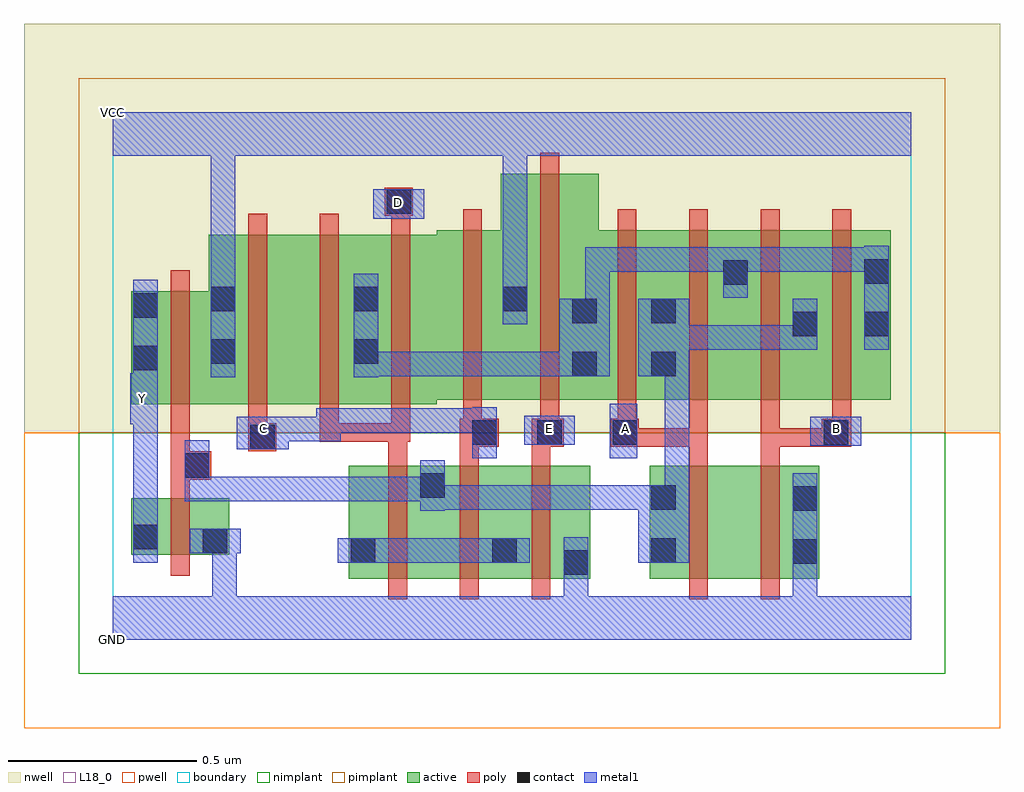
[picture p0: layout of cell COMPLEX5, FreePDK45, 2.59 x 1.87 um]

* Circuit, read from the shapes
.subckt COMPLEX5 A B C D E GND VCC Y
M1 GND n1 Y VSUBS nfet w=0.15u l=0.05u
M2 n1 D n2 VSUBS nfet w=0.3u l=0.05u
M3 n2 C n1 VSUBS nfet w=0.3u l=0.05u
M4 GND E n2 VSUBS nfet w=0.3u l=0.05u
M5 n3 A n1 VSUBS nfet w=0.3u l=0.05u
M6 GND B n3 VSUBS nfet w=0.3u l=0.05u
M7 VCC n1 Y n4 pfet w=0.3u l=0.05u
M8 n5 C VCC n4 pfet w=0.45u l=0.05u
M9 n6 D n5 n4 pfet w=0.45u l=0.05u
M10 n7 D n6 n4 pfet w=0.45u l=0.05u
M11 VCC C n7 n4 pfet w=0.45u l=0.05u
M12 n6 E VCC n4 pfet w=0.6u l=0.05u
M13 n1 A n6 n4 pfet w=0.45u l=0.05u m=2
M14 n1 B n6 n4 pfet w=0.45u l=0.05u m=2
.ends

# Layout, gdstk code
import gdstk
lib = gdstk.Library(unit=1e-6, precision=1e-09)
def R(c, l, rs):  # rectangles x0, y0, x1, y1
    for r in rs: c.add(gdstk.rectangle(r[:2], r[2:], *l))
def A(c, l, x, y, w, h, nx, ny, dx, dy):  # array of equal rectangles
    R(c, l, [(x+i*dx, y+j*dy, x+i*dx+w, y+j*dy+h) for i in range(nx) for j in range(ny)])
active = (1, 0)
pwell = (2, 0)
nwell = (3, 0)
nimplant = (4, 0)
pimplant = (5, 0)
poly = (9, 0)
contact = (10, 0)
metal1 = (11, 0)
L18_0 = (18, 0)
boundary = (235, 0)

complex5 = lib.new_cell('COMPLEX5')
R(complex5, active, [(0.627,0.162,0.887,0.462), (0.812,0.162,1.077,0.462), (1.002,0.162,1.267,0.462), (1.192,0.162,1.267,0.462), (1.425,0.162,1.65,0.462), (1.65,0.162,1.875,0.462), (0.627,0.195,0.702,0.462), (0.812,0.195,0.887,0.447), (1.002,0.195,1.077,0.397), (1.425,0.195,1.53,0.462), (1.8,0.195,1.875,0.462), (0.05,0.225,0.125,0.375), (0.05,0.225,0.31,0.375), (0.235,0.225,0.31,0.375), (0.05,0.625,0.125,0.925), (0.05,0.625,0.33,0.925), (0.255,0.625,0.48,1.075), (0.255,0.625,0.33,1.075), (0.48,0.625,0.71,1.075), (0.635,0.625,0.86,1.075), (0.635,0.625,0.71,1.055), (0.86,0.637,1.105,1.087), (1.03,0.637,1.29,1.237), (1.215,0.637,1.5,1.087), (1.215,0.637,1.29,1.2), (1.425,0.637,1.5,1.055), (1.425,0.637,1.69,1.087), (1.615,0.637,1.875,1.087), (1.8,0.637,1.875,1.055), (1.8,0.637,2.065,1.087), (1.99,0.637,2.065,1.055), (1.03,0.742,1.105,1.055), (1.615,0.857,1.69,1.055)])
R(complex5, pwell, [(-0.235,-0.235,2.355,0.55)])
R(complex5, nwell, [(-0.235,0.55,2.355,1.635)])
R(complex5, nimplant, [(-0.09,-0.09,2.21,0.55)])
R(complex5, pimplant, [(-0.09,0.55,2.21,1.49)])
A(complex5, poly, 0.732, 0.107, 0.05, 0.41, 3, 1, 0.19, 0)
A(complex5, poly, 0.36, 0.525, 0.05, 0.095, 3, 1, 0.19, 0)
A(complex5, poly, 0.93, 0.537, 0.05, 0.095, 3, 1, 0.205, 0)
A(complex5, poly, 0.36, 0.57, 0.05, 0.56, 3, 1, 0.19, 0)
A(complex5, poly, 1.34, 0.582, 0.05, 0.56, 4, 1, 0.19, 0)
R(complex5, poly, [(1.53,0.107,1.58,0.517), (1.72,0.107,1.77,0.517), (0.155,0.17,0.205,0.43), (0.155,0.38,0.205,0.475), (0.155,0.425,0.262,0.5), (0.155,0.45,0.205,0.62), (0.732,0.467,0.782,0.575), (0.922,0.467,0.972,0.562), (1.112,0.467,1.162,0.562), (1.53,0.467,1.58,0.562), (1.72,0.467,1.77,0.562), (0.36,0.5,0.435,0.575), (0.922,0.512,1.025,0.587), (1.112,0.512,1.197,0.587), (1.322,0.512,1.397,0.587), (1.347,0.512,1.58,0.562), (1.53,0.512,1.58,0.562), (1.53,0.512,1.58,0.562), (1.53,0.512,1.58,0.562), (1.53,0.512,1.58,0.632), (1.72,0.512,1.932,0.562), (1.72,0.512,1.77,0.562), (1.72,0.512,1.77,0.562), (1.72,0.512,1.77,0.562), (1.72,0.512,1.77,0.632), (1.882,0.512,1.96,0.587), (0.55,0.525,0.6,0.575), (0.55,0.525,0.6,0.575), (0.55,0.525,0.6,0.575), (0.55,0.525,0.782,0.575), (0.732,0.525,0.79,0.575), (1.91,0.537,1.96,0.632), (0.155,0.57,0.205,0.98), (0.93,0.582,0.98,1.142), (1.135,0.582,1.185,1.292), (0.74,1.08,0.79,1.175), (0.722,1.125,0.797,1.2)])
R(complex5, contact, [(1.197,0.172,1.262,0.237), (1.805,0.202,1.87,0.267), (0.632,0.205,0.697,0.27), (1.007,0.205,1.072,0.27), (1.43,0.205,1.495,0.27), (0.24,0.23,0.305,0.295), (0.055,0.24,0.12,0.305), (1.805,0.342,1.87,0.407), (1.43,0.345,1.495,0.41), (0.817,0.377,0.882,0.442), (0.192,0.43,0.257,0.495), (0.365,0.505,0.43,0.57), (0.955,0.517,1.02,0.582), (1.127,0.517,1.192,0.582), (1.327,0.517,1.392,0.582), (1.887,0.517,1.952,0.582), (1.22,0.7,1.285,0.765), (1.43,0.7,1.495,0.765), (0.055,0.715,0.12,0.78), (0.26,0.732,0.325,0.797), (0.64,0.732,0.705,0.797), (1.805,0.805,1.87,0.87), (1.995,0.805,2.06,0.87), (1.22,0.84,1.285,0.905), (1.43,0.84,1.495,0.905), (0.055,0.855,0.12,0.92), (0.26,0.872,0.325,0.937), (0.64,0.872,0.705,0.937), (1.035,0.872,1.1,0.937), (1.62,0.942,1.685,1.007), (1.995,0.945,2.06,1.01), (0.727,1.13,0.792,1.195)])
R(complex5, metal1, [(0,0,2.12,0.115), (0.265,0.05,0.33,0.295), (1.197,0.05,1.262,0.115), (1.197,0.05,1.262,0.115), (1.197,0.05,1.262,0.202), (1.805,0.05,1.87,0.115), (1.805,0.05,1.87,0.115), (1.805,0.05,1.87,0.232), (1.197,0.137,1.262,0.272), (1.805,0.167,1.87,0.442), (0.055,0.205,0.12,0.34), (0.597,0.205,0.732,0.27), (0.667,0.205,0.742,0.27), (0.677,0.205,0.742,0.27), (0.677,0.205,0.9,0.27), (0.835,0.205,0.9,0.27), (0.835,0.205,0.9,0.27), (0.835,0.205,0.9,0.27), (0.835,0.205,1.037,0.27), (0.972,0.205,1.107,0.27), (1.395,0.205,1.53,0.41), (0.205,0.23,0.34,0.295), (0.265,0.23,0.33,0.295), (0.265,0.23,0.33,0.295), (0.265,0.23,0.33,0.295), (0.265,0.23,0.33,0.295), (0.055,0.275,0.12,0.637), (0.817,0.342,0.882,0.477), (0.817,0.345,0.882,0.41), (0.817,0.345,0.882,0.41), (0.817,0.345,1.045,0.41), (0.98,0.345,1.045,0.41), (0.98,0.345,1.182,0.41), (1.117,0.345,1.182,0.41), (1.117,0.345,1.182,0.41), (1.117,0.345,1.182,0.41), (1.117,0.345,1.392,0.41), (1.327,0.345,1.392,0.41), (1.327,0.345,1.46,0.41), (1.465,0.345,1.53,0.41), (1.465,0.345,1.53,0.41), (1.465,0.345,1.53,0.765), (0.192,0.367,0.257,0.432), (0.192,0.367,0.467,0.432), (0.192,0.367,0.257,0.46), (0.402,0.367,0.605,0.432), (0.402,0.367,0.467,0.432), (0.402,0.367,0.467,0.432), (0.402,0.367,0.467,0.432), (0.54,0.367,0.605,0.432), (0.54,0.367,0.605,0.432), (0.54,0.367,0.605,0.432), (0.54,0.367,0.742,0.432), (0.677,0.367,0.742,0.432), (0.677,0.367,0.882,0.432), (0.192,0.395,0.257,0.46), (0.192,0.395,0.257,0.46), (0.192,0.395,0.257,0.53), (0.955,0.482,1.02,0.617), (1.32,0.482,1.392,0.627), (0.33,0.505,0.467,0.592), (1.852,0.515,1.987,0.592), (1.092,0.517,1.227,0.595), (0.402,0.527,0.605,0.592), (0.402,0.527,0.467,0.592), (0.402,0.527,0.467,0.592), (0.54,0.527,0.605,0.615), (0.54,0.55,0.605,0.615), (0.54,0.55,0.605,0.615), (0.54,0.55,0.742,0.615), (0.677,0.55,0.742,0.615), (0.677,0.55,0.87,0.615), (0.805,0.55,0.87,0.615), (0.805,0.55,1.02,0.615), (0.047,0.572,0.12,0.707), (0.055,0.642,0.12,0.745), (0.055,0.68,0.12,0.955), (0.26,0.697,0.325,0.972), (0.64,0.697,0.705,0.972), (0.64,0.7,0.742,0.765), (0.677,0.7,0.742,0.765), (0.677,0.7,0.9,0.765), (0.835,0.7,0.9,0.765), (0.835,0.7,0.9,0.765), (0.835,0.7,0.9,0.765), (0.835,0.7,1.045,0.765), (0.98,0.7,1.045,0.765), (0.98,0.7,1.045,0.765), (0.98,0.7,1.045,0.765), (0.98,0.7,1.25,0.765), (1.185,0.7,1.32,0.905), (1.395,0.7,1.53,0.905), (1.465,0.77,1.53,0.835), (1.465,0.77,1.53,0.835), (1.465,0.77,1.732,0.835), (1.667,0.77,1.87,0.835), (1.667,0.77,1.732,0.835), (1.667,0.77,1.732,0.835), (1.667,0.77,1.732,0.835), (1.805,0.77,1.87,0.905), (1.995,0.77,2.06,1.045), (1.035,0.837,1.1,0.972), (1.255,0.84,1.32,1.042), (0.26,0.907,0.325,1.35), (1.035,0.907,1.1,0.972), (1.035,0.907,1.1,0.972), (1.035,0.907,1.1,1.35), (1.62,0.907,1.685,1.042), (1.255,0.977,1.32,1.042), (1.255,0.977,1.32,1.042), (1.255,0.977,1.32,1.042), (1.255,0.977,1.53,1.042), (1.465,0.977,1.53,1.042), (1.465,0.977,1.53,1.042), (1.465,0.977,1.53,1.042), (1.465,0.977,1.685,1.042), (1.62,0.977,1.685,1.042), (1.62,0.977,1.685,1.042), (1.62,0.977,1.922,1.042), (1.857,0.977,2.06,1.042), (1.857,0.977,1.922,1.042), (1.857,0.977,1.922,1.042), (1.857,0.977,1.922,1.042), (0.692,1.117,0.827,1.195), (0,1.285,2.12,1.4), (0.26,1.285,0.325,1.35), (0.26,1.285,0.325,1.35), (0.26,1.285,0.325,1.35), (0.26,1.285,0.325,1.35)])
R(complex5, L18_0, [(0,0,2.12,0.115), (0.265,0.05,0.33,0.295), (1.197,0.05,1.262,0.115), (1.197,0.05,1.262,0.115), (1.197,0.05,1.262,0.202), (1.805,0.05,1.87,0.115), (1.805,0.05,1.87,0.115), (1.805,0.05,1.87,0.232), (1.197,0.137,1.262,0.272), (1.805,0.167,1.87,0.442), (0.055,0.205,0.12,0.34), (0.205,0.23,0.34,0.295), (0.265,0.23,0.33,0.295), (0.265,0.23,0.33,0.295), (0.265,0.23,0.33,0.295), (0.265,0.23,0.33,0.295), (0.055,0.275,0.12,0.637), (0.955,0.482,1.02,0.617), (1.32,0.482,1.392,0.627), (0.33,0.505,0.467,0.592), (1.852,0.515,1.987,0.592), (1.092,0.517,1.227,0.595), (0.367,0.527,0.432,0.592), (0.402,0.527,0.467,0.592), (0.402,0.527,0.467,0.592), (0.402,0.527,0.605,0.592), (0.54,0.527,0.605,0.615), (1.127,0.527,1.192,0.592), (1.327,0.527,1.392,0.592), (1.887,0.527,1.952,0.592), (0.54,0.55,0.605,0.615), (0.54,0.55,0.605,0.615), (0.54,0.55,0.742,0.615), (0.677,0.55,0.742,0.615), (0.677,0.55,0.87,0.615), (0.805,0.55,0.87,0.615), (0.805,0.55,1.02,0.615), (0.047,0.572,0.12,0.707), (0.047,0.607,0.112,0.672), (0.055,0.642,0.12,0.745), (0.055,0.68,0.12,0.955), (0.26,0.697,0.325,0.972), (1.035,0.837,1.1,0.972), (0.26,0.907,0.325,1.35), (1.035,0.907,1.1,0.972), (1.035,0.907,1.1,0.972), (1.035,0.907,1.1,1.35), (0.692,1.117,0.827,1.195), (0.727,1.127,0.792,1.192), (0,1.285,2.12,1.4), (0.26,1.285,0.325,1.35), (0.26,1.285,0.325,1.35), (0.26,1.285,0.325,1.35), (0.26,1.285,0.325,1.35)])
R(complex5, boundary, [(0,0,2.12,1.4)])
complex5.add(gdstk.Label('A', (1.36,0.56), layer=11, texttype=0))
complex5.add(gdstk.Label('B', (1.92,0.56), layer=11, texttype=0))
complex5.add(gdstk.Label('C', (0.4,0.56), layer=11, texttype=0))
complex5.add(gdstk.Label('D', (0.76,1.16), layer=11, texttype=0))
complex5.add(gdstk.Label('E', (1.16,0.56), layer=11, texttype=0))
complex5.add(gdstk.Label('Y', (0.08,0.64), layer=11, texttype=0))
complex5.add(gdstk.Label('VCC', (0,1.4), layer=11, texttype=0))
complex5.add(gdstk.Label('GND', (0,0), layer=11, texttype=0))

lib.write_gds('COMPLEX5.gds')
